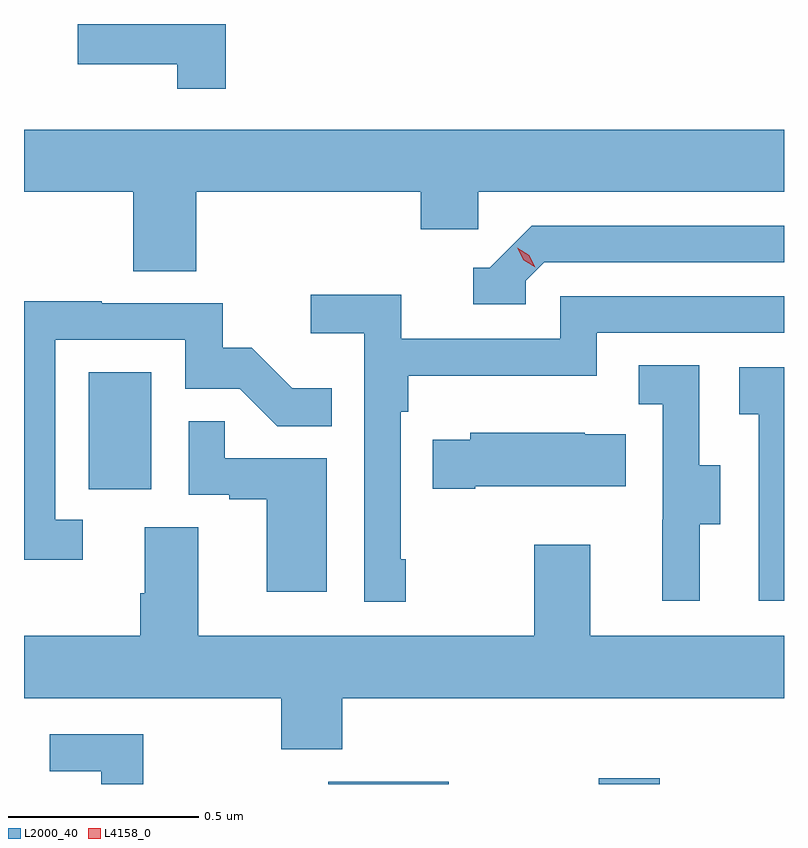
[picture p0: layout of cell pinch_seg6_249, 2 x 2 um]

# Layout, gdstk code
import gdstk
lib = gdstk.Library(unit=1e-6, precision=1e-09)
def R(c, l, rs):  # rectangles x0, y0, x1, y1
    for r in rs: c.add(gdstk.rectangle(r[:2], r[2:], *l))
def P(c, l, *ps):  # polygons
    for p in ps: c.add(gdstk.Polygon(p, *l))
L2000_40 = (2000, 40)
L4158_0 = (4158, 0)

pinch_seg6_249 = lib.new_cell('pinch_seg6_249')
R(pinch_seg6_249, L2000_40, [(1118.773,923.134,1119.091,923.14), (1119.485,923.134,1119.646,923.149), (1118.144,923.91,1118.308,924.217)])
P(pinch_seg6_249, L2000_40, [(1118.504,925.134),(1118.114,925.134),(1118.114,925.028),(1118.376,925.028),(1118.376,924.963),(1118.504,924.963)],
  [(1118.426,924.692),(1119.017,924.692),(1119.017,924.594),(1119.168,924.594),(1119.168,924.692),(1119.973,924.692),(1119.973,924.856),(1117.973,924.856),(1117.973,924.692),(1118.261,924.692),(1118.261,924.484),(1118.426,924.484)],
  [(1119.294,924.459),(1119.342,924.507),(1119.973,924.507),(1119.973,924.603),(1119.309,924.603),(1119.198,924.492),(1119.155,924.492),(1119.155,924.396),(1119.294,924.396)],
  [(1118.977,923.725),(1118.964,923.725),(1118.964,924.113),(1118.984,924.113),(1118.984,924.209),(1119.48,924.209),(1119.48,924.321),(1119.973,924.321),(1119.973,924.417),(1119.384,924.417),(1119.384,924.306),(1118.966,924.306),(1118.966,924.422),(1118.727,924.422),(1118.727,924.32),(1118.868,924.32),(1118.868,923.613),(1118.977,923.613)],
  [(1118.128,923.829),(1118.055,923.829),(1118.055,924.303),(1118.397,924.303),(1118.397,924.174),(1118.541,924.174),(1118.639,924.076),(1118.783,924.076),(1118.783,924.175),(1118.679,924.175),(1118.572,924.282),(1118.496,924.282),(1118.496,924.399),(1118.177,924.399),(1118.177,924.404),(1117.973,924.404),(1117.973,923.724),(1118.128,923.724)],
  [(1119.751,923.818),(1119.805,923.818),(1119.805,923.973),(1119.75,923.973),(1119.75,924.236),(1119.591,924.236),(1119.591,924.133),(1119.654,924.133),(1119.654,923.829),(1119.653,923.829),(1119.653,923.616),(1119.751,923.616)],
  [(1119.973,924.231),(1119.855,924.231),(1119.855,924.107),(1119.906,924.107),(1119.906,923.616),(1119.973,923.616)],
  [(1118.77,923.991),(1118.501,923.991),(1118.501,924.089),(1118.406,924.089),(1118.406,923.895),(1118.513,923.895),(1118.513,923.883),(1118.612,923.883),(1118.612,923.64),(1118.77,923.64)],
  [(1119.16,923.918),(1119.557,923.918),(1119.557,924.055),(1119.449,924.055),(1119.449,924.058),(1119.147,924.058),(1119.147,924.04),(1119.049,924.04),(1119.049,923.911),(1119.16,923.911)],
  [(1118.81,923.36),(1119.973,923.36),(1119.973,923.524),(1119.463,923.524),(1119.463,923.764),(1119.316,923.764),(1119.316,923.524),(1118.431,923.524),(1118.431,923.81),(1118.291,923.81),(1118.291,923.636),(1118.279,923.636),(1118.279,923.524),(1117.973,923.524),(1117.973,923.36),(1118.65,923.36),(1118.65,923.225),(1118.81,923.225)],
  [(1118.287,923.265),(1118.041,923.265),(1118.041,923.168),(1118.176,923.168),(1118.176,923.134),(1118.287,923.134)])
P(pinch_seg6_249, L4158_0, [(1119.319,924.494),(1119.288,924.512),(1119.271,924.545),(1119.271,924.545),(1119.271,924.545),(1119.302,924.526),(1119.319,924.494),(1119.319,924.494)])

lib.write_gds('pinch_seg6_249.gds')
